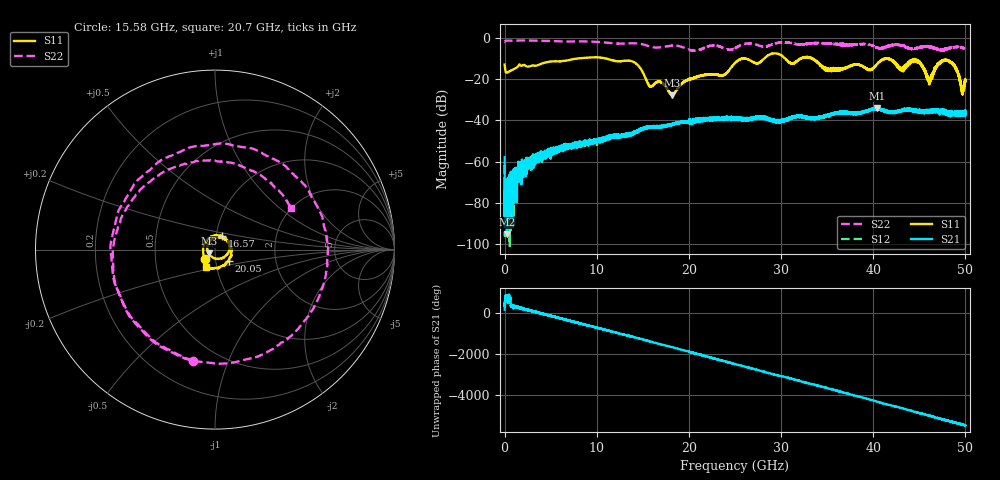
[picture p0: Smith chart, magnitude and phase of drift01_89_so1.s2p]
!Created with skrf (http://scikit-rf.org).
# Hz S RI R 50.0
!freq ReS11 ImS11 ReS21 ImS21 ReS12 ImS12 ReS22 ImS22
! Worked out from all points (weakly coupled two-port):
!   10001 points, 300 kHz to 50 GHz, reference 50 ohm
!   highest |S21| = -34.06 dB at 40.39 GHz (marker M1); lowest = -95.1 dB at 285.3 MHz (marker M2)
!   lowest |S11| = -27.9 dB at 18.15 GHz (marker M3), VSWR 1.08, Z = 46.7 - j2.02 ohm
!   |S11| at or under -10 dB: start of sweep to 8.084 GHz; 10.9 GHz to 28.19 GHz (17.3 GHz wide, 88.5 % of centre); 41.6 GHz to end of sweep (the widest 3 of 13)
!   |S22| runs from -6.4 to -1.4 dB; largest |S21 - S12| = 0.0036
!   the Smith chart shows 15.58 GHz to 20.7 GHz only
!   S11 on the Smith chart (normalised r, x): 15.58 GHz: 0.89, -0.10; 16.57 GHz: 1.07, +0.16; 20.05 GHz: 1.16, -0.15; 20.7 GHz: 0.88, -0.17
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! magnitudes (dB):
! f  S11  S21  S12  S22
! 300 kHz  -13.1  -57.9  -61.7  -2.1
! 285.3 MHz  -16.9  -95.1  -81.6  -1.4
! 2.895 GHz  -13.6  -60.3  -63.6  -1.4
! 8.335 GHz  -9.9  -51.2  -51.5  -1.8
! 13.89 GHz  -11.5  -46.1  -45.8  -2.7
! 15.58 GHz  -22.4  -43.1  -43.4  -4.0
! 16.57 GHz  -21.5  -43.4  -43.6  -4.7
! 16.67 GHz  -21.3  -42.9  -43.1  -4.8
! 18.15 GHz  -27.9  -42.4  -42.2  -3.9
! 20.05 GHz  -19.9  -40.6  -40.1  -5.9
! 20.7 GHz  -19.2  -39.9  -40.0  -6.3
! 25 GHz  -12.2  -39.4  -39.3  -5.1
! 33.34 GHz  -10.1  -38.6  -38.8  -2.7
! 35.25 GHz  -15.2  -37.3  -37.5  -2.9
! 40.39 GHz  -12.8  -34.1  -34.4  -4.8
! 41.67 GHz  -10.3  -35.6  -36.3  -4.3
! 43.07 GHz  -15.7  -35.5  -35.5  -3.6
! 44.82 GHz  -11.5  -35.7  -35.5  -5.0
! 46.1 GHz  -21.4  -35.0  -35.3  -4.4
! 48.05 GHz  -11.3  -35.7  -36.6  -5.2
! 49.64 GHz  -24.8  -35.8  -36.5  -4.7
! 50 GHz  -21.2  -37.3  -37.3  -5.4
